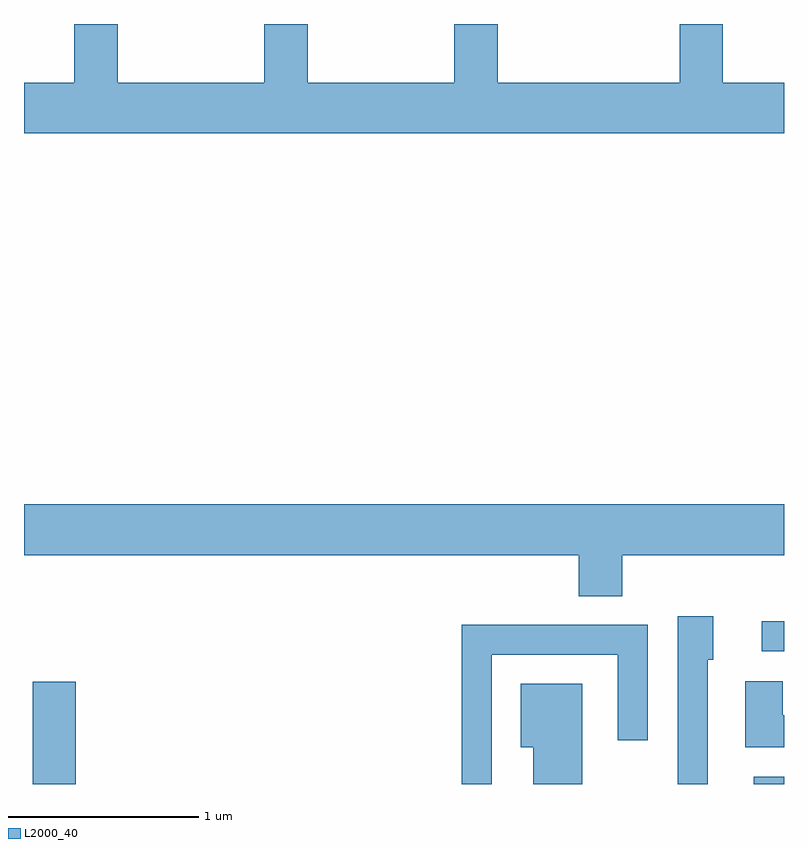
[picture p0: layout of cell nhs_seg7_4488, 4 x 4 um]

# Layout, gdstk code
import gdstk
lib = gdstk.Library(unit=1e-6, precision=1e-09)
def R(c, l, rs):  # rectangles x0, y0, x1, y1
    for r in rs: c.add(gdstk.rectangle(r[:2], r[2:], *l))
def P(c, l, *ps):  # polygons
    for p in ps: c.add(gdstk.Polygon(p, *l))
L2000_40 = (2000, 40)

nhs_seg7_4488 = lib.new_cell('nhs_seg7_4488')
R(nhs_seg7_4488, L2000_40, [(323.656,1684.252,323.884,1684.789), (327.453,1684.252,327.611,1684.289), (327.493,1684.951,327.611,1685.109)])
P(nhs_seg7_4488, L2000_40, [(327.611,1687.944),(327.289,1687.944),(327.289,1688.252),(327.061,1688.252),(327.061,1687.944),(326.104,1687.944),(326.104,1688.252),(325.876,1688.252),(325.876,1687.944),(325.104,1687.944),(325.104,1688.252),(324.876,1688.252),(324.876,1687.944),(324.104,1687.944),(324.104,1688.252),(323.876,1688.252),(323.876,1687.944),(323.611,1687.944),(323.611,1687.676),(327.611,1687.676)],
  [(326.759,1685.456),(327.611,1685.456),(327.611,1685.724),(323.611,1685.724),(323.611,1685.456),(326.531,1685.456),(326.531,1685.241),(326.759,1685.241)],
  [(327.209,1684.906),(327.239,1684.906),(327.239,1685.134),(327.051,1685.134),(327.051,1684.252),(327.209,1684.252)],
  [(326.074,1684.931),(326.736,1684.931),(326.736,1684.483),(326.894,1684.483),(326.894,1685.089),(325.916,1685.089),(325.916,1684.252),(326.074,1684.252)],
  [(327.611,1684.614),(327.604,1684.614),(327.604,1684.794),(327.406,1684.794),(327.406,1684.446),(327.611,1684.446)],
  [(326.549,1684.779),(326.226,1684.779),(326.226,1684.446),(326.291,1684.446),(326.291,1684.252),(326.549,1684.252)])

lib.write_gds('nhs_seg7_4488.gds')
